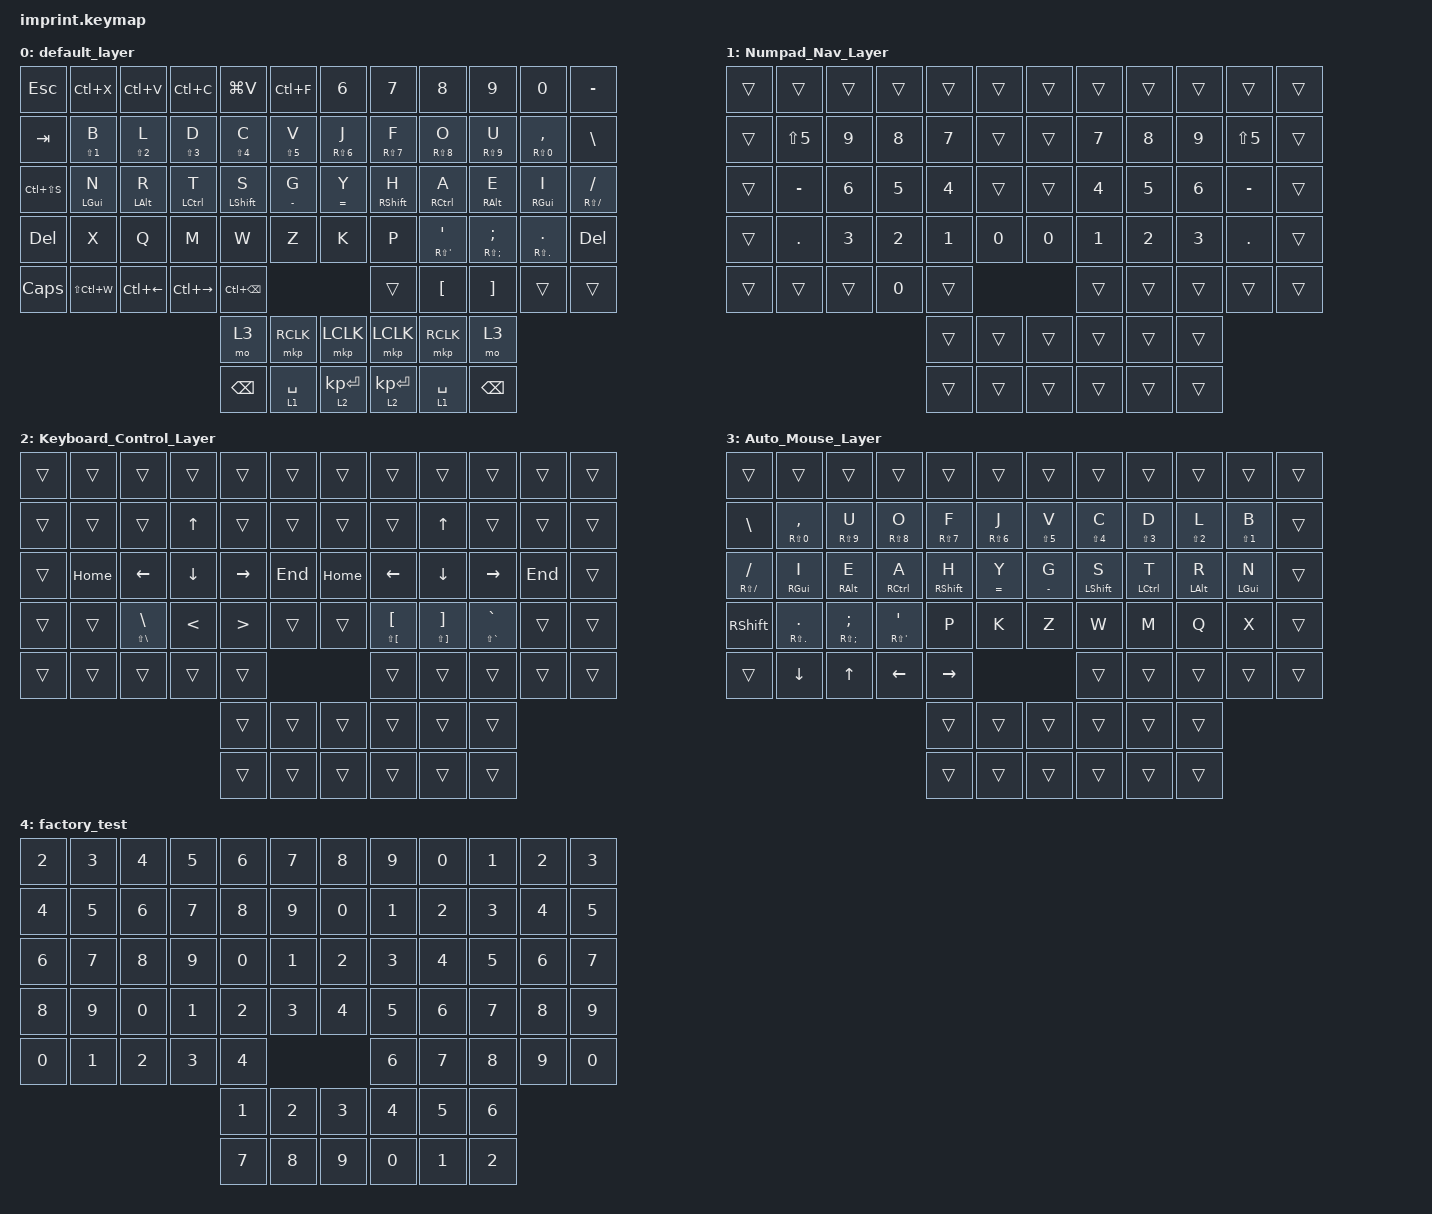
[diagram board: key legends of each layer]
#include <input/processors.dtsi>
#include <dt-bindings/zmk/input_transform.h>
#include <behaviors.dtsi>
#include <dt-bindings/zmk/keys.h>
#include <dt-bindings/zmk/pointing.h>

&mt {
    tapping-term-ms = <200>;
    flavor = "tap-preferred";
};

/ {
    chosen { zmk,physical-layout = &physical_layout_imprint_number_row_full_bottom_row; };

    keymap {
        compatible = "zmk,keymap";

        default_layer {
            bindings = <
&kp ESC        &kp LC(X)           &kp LC(V)           &kp LC(C)            &kp LG(V)           &kp LC(F)                             &kp NUMBER_6        &kp N7              &kp N8               &kp N9                       &kp N0                 &kp MINUS
&kp TAB        &mt LS(NUMBER_1) B  &mt LS(NUMBER_2) L  &mt LS(NUMBER_3) D   &mt LS(NUMBER_4) C  &mt LS(NUMBER_5) V                    &mt RS(NUMBER_6) J  &mt RS(NUMBER_7) F  &mt RS(NUMBER_8) O   &mt RS(NUMBER_9) U           &mt RS(N0) COMMA       &kp BSLH
&kp LC(LS(S))  &mt LEFT_GUI N      &mt LEFT_ALT R      &mt LEFT_CONTROL T   &mt LEFT_SHIFT S    &mt MINUS G                           &mt EQUAL Y         &mt RIGHT_SHIFT H   &mt RIGHT_CONTROL A  &mt RIGHT_ALT E              &mt RIGHT_GUI I        &mt RS(SLASH) SLASH
&kp DELETE     &kp X               &kp Q               &kp M                &kp W               &kp Z                                 &kp K               &kp P               &mt RS(SQT) SQT      &mt RS(SEMICOLON) SEMICOLON  &mt RS(PERIOD) PERIOD  &kp DELETE
&kp CAPSLOCK   &kp LS(LC(W))       &kp LC(LEFT_ARROW)  &kp LC(RIGHT_ARROW)  &kp LC(BACKSPACE)                                                             &trans              &kp LBKT             &kp RBKT                     &trans                 &trans
                                                                            &mo 3               &mkp RCLK           &mkp LCLK         &mkp LCLK           &mkp RCLK           &mo 3
                                                                            &kp BACKSPACE       &lt 1 SPACE         &lt 2 KP_ENTER    &lt 2 KP_ENTER      &lt 1 SPACE         &kp BACKSPACE
            >;
        };

        Numpad_Nav_Layer {
            bindings = <
&trans  &trans            &trans        &trans  &trans        &trans                  &trans        &trans        &trans        &trans        &trans            &trans
&trans  &kp LS(NUMBER_5)  &kp NUMBER_9  &kp N8  &kp NUMBER_7  &trans                  &trans        &kp NUMBER_7  &kp NUMBER_8  &kp NUMBER_9  &kp LS(NUMBER_5)  &trans
&trans  &kp MINUS         &kp NUMBER_6  &kp N5  &kp NUMBER_4  &trans                  &trans        &kp NUMBER_4  &kp NUMBER_5  &kp NUMBER_6  &kp MINUS         &trans
&trans  &kp PERIOD        &kp NUMBER_3  &kp N2  &kp NUMBER_1  &kp NUMBER_0            &kp NUMBER_0  &kp NUMBER_1  &kp NUMBER_2  &kp NUMBER_3  &kp PERIOD        &trans
&trans  &trans            &trans        &kp N0  &trans                                              &trans        &trans        &trans        &trans            &trans
                                                &trans        &trans        &trans    &trans        &trans        &trans
                                                &trans        &trans        &trans    &trans        &trans        &trans
            >;
        };

        Keyboard_Control_Layer {
            bindings = <
&trans  &trans    &trans                       &trans          &trans            &trans             &trans    &trans                             &trans                               &trans               &trans   &trans
&trans  &trans    &trans                       &kp UP_ARROW    &trans            &trans             &trans    &trans                             &kp UP_ARROW                         &trans               &trans   &trans
&trans  &kp HOME  &kp LEFT_ARROW               &kp DOWN_ARROW  &kp RIGHT_ARROW   &kp END            &kp HOME  &kp LEFT_ARROW                     &kp DOWN_ARROW                       &kp RIGHT_ARROW      &kp END  &trans
&trans  &trans    &mt LS(BACKSLASH) BACKSLASH  &kp LESS_THAN   &kp GREATER_THAN  &trans             &trans    &mt LS(LEFT_BRACKET) LEFT_BRACKET  &mt LS(RIGHT_BRACKET) RIGHT_BRACKET  &mt LS(GRAVE) GRAVE  &trans   &trans
&trans  &trans    &trans                       &trans          &trans                                         &trans                             &trans                               &trans               &trans   &trans
                                                               &trans            &trans   &trans    &trans    &trans                             &trans
                                                               &trans            &trans   &trans    &trans    &trans                             &trans
            >;
        };

        Auto_Mouse_Layer {
            bindings = <
&trans               &trans                 &trans                       &trans               &trans              &trans                        &trans              &trans              &trans              &trans              &trans              &trans
&kp BSLH             &mt RS(N0) COMMA       &mt RS(NUMBER_9) U           &mt RS(NUMBER_8) O   &mt RS(NUMBER_7) F  &mt RS(NUMBER_6) J            &mt LS(NUMBER_5) V  &mt LS(NUMBER_4) C  &mt LS(NUMBER_3) D  &mt LS(NUMBER_2) L  &mt LS(NUMBER_1) B  &trans
&mt RS(SLASH) SLASH  &mt RIGHT_GUI I        &mt RIGHT_ALT E              &mt RIGHT_CONTROL A  &mt RIGHT_SHIFT H   &mt EQUAL Y                   &mt MINUS G         &mt LEFT_SHIFT S    &mt LEFT_CONTROL T  &mt LEFT_ALT R      &mt LEFT_GUI N      &trans
&kp RSHFT            &mt RS(PERIOD) PERIOD  &mt RS(SEMICOLON) SEMICOLON  &mt RS(SQT) SQT      &kp P               &kp K                         &kp Z               &kp W               &kp M               &kp Q               &kp X               &trans
&trans               &kp DOWN_ARROW         &kp UP_ARROW                 &kp LEFT_ARROW       &kp RIGHT_ARROW                                                       &trans              &trans              &trans              &trans              &trans
                                                                                              &trans              &trans              &trans    &trans              &trans              &trans
                                                                                              &trans              &trans              &trans    &trans              &trans              &trans
            >;
        };

        factory_test {
            bindings = <
&kp N2  &kp N3  &kp N4  &kp N5  &kp N6  &kp N7            &kp N8  &kp N9  &kp N0  &kp N1  &kp N2  &kp N3
&kp N4  &kp N5  &kp N6  &kp N7  &kp N8  &kp N9            &kp N0  &kp N1  &kp N2  &kp N3  &kp N4  &kp N5
&kp N6  &kp N7  &kp N8  &kp N9  &kp N0  &kp N1            &kp N2  &kp N3  &kp N4  &kp N5  &kp N6  &kp N7
&kp N8  &kp N9  &kp N0  &kp N1  &kp N2  &kp N3            &kp N4  &kp N5  &kp N6  &kp N7  &kp N8  &kp N9
&kp N0  &kp N1  &kp N2  &kp N3  &kp N4                            &kp N6  &kp N7  &kp N8  &kp N9  &kp N0
                                &kp N1  &kp N2  &kp N3    &kp N4  &kp N5  &kp N6
                                &kp N7  &kp N8  &kp N9    &kp N0  &kp N1  &kp N2
            >;
        };
    };
};

&trackball_central_listener {
    input-processors = <&zip_xy_scaler 1 1>;

    scroller {
        layers = <3>;
        input-processors =
            <&zip_xy_to_scroll_mapper>,
            <&zip_scroll_scaler 1 10>,
            <&zip_scroll_transform INPUT_TRANSFORM_Y_INVERT>;

        process-next;
    };
};

&trackball_central_listener {
    input-processors = <&zip_xy_scaler 1 1>;

    scroller {
        layers = <3>;
        input-processors =
            <&zip_xy_to_scroll_mapper>,
            <&zip_scroll_scaler 1 10>,
            <&zip_scroll_transform INPUT_TRANSFORM_Y_INVERT>;

        process-next;
    };
};
